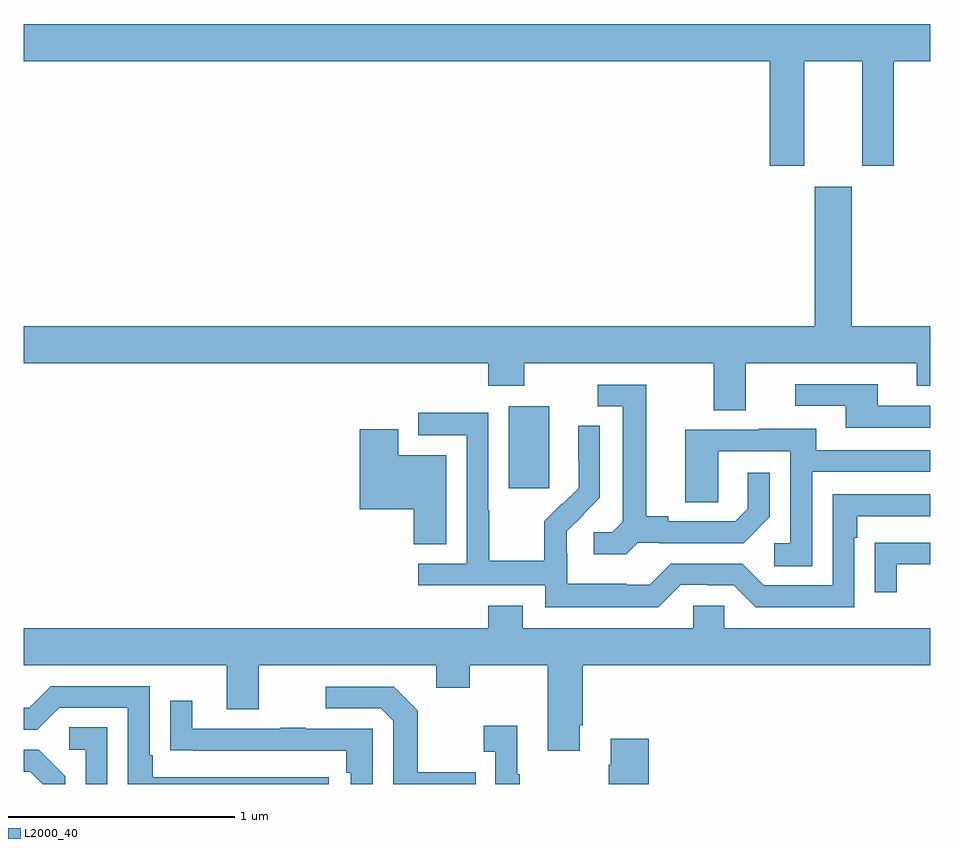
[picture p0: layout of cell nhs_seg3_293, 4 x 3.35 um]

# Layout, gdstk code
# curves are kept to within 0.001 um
import gdstk
lib = gdstk.Library(unit=1e-6, precision=1e-09)
def R(c, l, rs):  # rectangles x0, y0, x1, y1
    for r in rs: c.add(gdstk.rectangle(r[:2], r[2:], *l))
def P(c, l, *ps):  # polygons
    for p in ps: c.add(gdstk.Polygon(p, *l))
L2000_40 = (2000, 40)

nhs_seg3_293 = lib.new_cell('nhs_seg3_293')
R(nhs_seg3_293, L2000_40, [(127.139,693.705,127.318,694.066)])
P(nhs_seg3_293, L2000_40, [(128.443,695.588),(128.699,695.588),(128.699,695.127),(128.839,695.127),(128.839,695.588),(129,695.588),(129,695.752),(125,695.752),(125,695.588),(128.291,695.588),(128.291,695.127),(128.443,695.127)],
  [(128.185,694.256),(128.939,694.256),(128.939,694.157),(129,694.157),(129,694.42),(128.653,694.42),(128.653,695.035),(128.489,695.035),(128.489,694.42),(125,694.42),(125,694.256),(127.049,694.256),(127.049,694.157),(127.209,694.157),(127.209,694.256),(128.045,694.256),(128.045,694.048),(128.185,694.048)],
  [(129,694.068),(128.767,694.068),(128.767,694.164),(128.403,694.164),(128.403,694.068),(128.627,694.068),(128.627,693.972),(129,693.972)],
  [(127.71,693.465),(127.804,693.465),(127.804,693.462),(128.176,693.462),(128.292,693.578),(128.292,693.772),(128.195,693.772),(128.195,693.615),(128.138,693.558),(127.843,693.558),(127.843,693.581),(127.747,693.581),(127.747,694.161),(127.533,694.161),(127.533,694.065),(127.643,694.065),(127.643,693.557),(127.596,693.51),(127.515,693.51),(127.515,693.413),(127.658,693.413)],
  [(127.899,693.279),(128.015,693.279),(128.015,693.276),(128.133,693.276),(128.229,693.18),(128.664,693.18),(128.664,693.485),(128.677,693.485),(128.677,693.582),(129,693.582),(129,693.678),(128.568,693.678),(128.568,693.276),(128.265,693.276),(128.169,693.372),(127.854,693.372),(127.761,693.279),(127.661,693.279),(127.661,693.283),(127.398,693.283),(127.398,693.417),(127.396,693.417),(127.396,693.514),(127.542,693.662),(127.542,693.98),(127.446,693.98),(127.446,693.826),(127.448,693.826),(127.448,693.704),(127.377,693.633),(127.374,693.636),(127.297,693.559),(127.297,693.385),(127.053,693.385),(127.053,693.608),(127.05,693.608),(127.05,694.038),(126.741,694.038),(126.741,693.939),(126.954,693.939),(126.954,693.372),(126.741,693.372),(126.741,693.276),(127.302,693.276),(127.302,693.179),(127.799,693.179)],
  [(128.478,693.777),(129,693.777),(129,693.873),(128.497,693.873),(128.497,693.967),(128.243,693.967),(128.243,693.963),(127.919,693.963),(127.919,693.643),(128.064,693.643),(128.064,693.867),(128.382,693.867),(128.382,693.462),(128.31,693.462),(128.31,693.361),(128.478,693.361)],
  [(126.865,693.85),(126.652,693.85),(126.652,693.964),(126.482,693.964),(126.482,693.611),(126.722,693.611),(126.722,693.457),(126.865,693.457)],
  [(128.851,693.369),(129,693.369),(129,693.465),(128.857,693.465),(128.857,693.464),(128.755,693.464),(128.755,693.246),(128.851,693.246)],
  [(127.453,692.659),(127.466,692.659),(127.466,692.924),(129,692.924),(129,693.088),(128.091,693.088),(128.091,693.186),(127.953,693.186),(127.953,693.088),(127.201,693.088),(127.201,693.187),(127.049,693.187),(127.049,693.088),(125,693.088),(125,692.924),(125.897,692.924),(125.897,692.73),(126.037,692.73),(126.037,692.924),(126.821,692.924),(126.821,692.825),(126.969,692.825),(126.969,692.924),(127.313,692.924),(127.313,692.547),(127.453,692.547)],
  [(126.346,692.43),(125.569,692.43),(125.569,692.527),(125.556,692.527),(125.556,692.832),(125.121,692.832),(125.025,692.736),(125,692.736),(125,692.64),(125.061,692.64),(125.157,692.736),(125.46,692.736),(125.46,692.4),(126.346,692.4)],
  [(126.995,692.451),(126.739,692.451),(126.739,692.723),(126.633,692.829),(126.333,692.829),(126.333,692.733),(126.576,692.733),(126.63,692.679),(126.63,692.4),(126.995,692.4)],
  [(126.54,692.643),(126.245,692.643),(126.245,692.648),(126.133,692.648),(126.133,692.643),(125.743,692.643),(125.743,692.767),(125.647,692.767),(125.647,692.548),(125.749,692.548),(125.749,692.547),(126.424,692.547),(126.424,692.45),(126.444,692.45),(126.444,692.4),(126.54,692.4)],
  [(127.189,692.443),(127.177,692.443),(127.177,692.656),(127.029,692.656),(127.029,692.543),(127.08,692.543),(127.08,692.4),(127.189,692.4)],
  [(125.37,692.651),(125.202,692.651),(125.202,692.55),(125.274,692.55),(125.274,692.4),(125.37,692.4)],
  [(127.757,692.599),(127.589,692.599),(127.589,692.486),(127.582,692.486),(127.582,692.4),(127.757,692.4)],
  [(125.184,692.434),(125.068,692.55),(125,692.55),(125,692.454),(125.03,692.454),(125.084,692.4),(125.184,692.4)])

lib.write_gds('nhs_seg3_293.gds')
